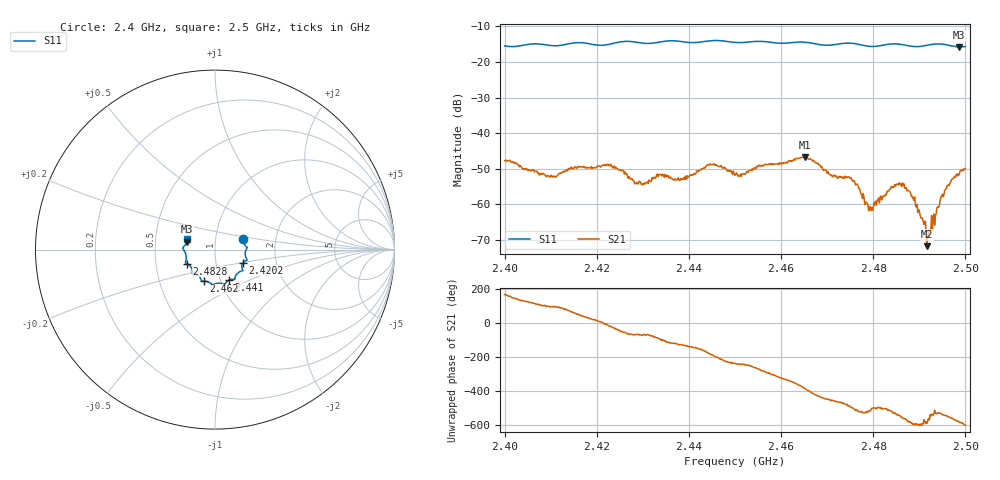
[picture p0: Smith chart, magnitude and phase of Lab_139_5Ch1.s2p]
# Hz S RI R 50
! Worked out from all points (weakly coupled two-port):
!   601 points, 2.4 GHz to 2.5 GHz, reference 50 ohm
!   highest |S21| = -46.68 dB at 2.4652 GHz (marker M1); lowest = -71.8 dB at 2.4917 GHz (marker M2)
!   lowest |S11| = -15.8 dB at 2.4987 GHz (marker M3), VSWR 1.39, Z = 36.3 + j3.25 ohm
!   |S11| at or under -10 dB: start of sweep to end of sweep
!   S12 and S22 are empty: the file has one direction only
!   S11 on the Smith chart (normalised r, x): 2.4 GHz: 1.36, +0.17; 2.4202 GHz: 1.35, -0.20; 2.441 GHz: 1.10, -0.39; 2.462 GHz: 0.83, -0.30; 2.4828 GHz: 0.72, -0.12; 2.5 GHz: 0.73, +0.09
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2.4e9  0.1571 0.0608  -0.004 0.000896  0 0  0 0
2.4095e9  0.1721 -0.00276  -0.000322 0.00247  0 0  0 0
2.416667e9  0.1774 -0.0592  0.00241 0.00234  0 0  0 0
2.420167e9  0.1569 -0.0721  0.00334 0.000798  0 0  0 0
2.423333e9  0.1504 -0.1017  0.00312 -0.00147  0 0  0 0
2.4285e9  0.1482 -0.1193  0.000772 -0.00182  0 0  0 0
2.433333e9  0.1128 -0.152  -2.43e-05 -0.00245  0 0  0 0
2.441e9  0.0774 -0.1706  -0.0022 -0.00153  0 0  0 0
2.445e9  0.0536 -0.1929  -0.00355 0.000491  0 0  0 0
2.45e9  0.027 -0.1868  -0.00136 0.00215  0 0  0 0
2.462e9  -0.0613 -0.1761  0.00386 0.00112  0 0  0 0
2.465167e9  -0.0755 -0.1743  0.00422 -0.00193  0 0  0 0
2.466667e9  -0.0776 -0.1673  0.0026 -0.0033  0 0  0 0
2.475333e9  -0.1261 -0.1333  -0.00171 -0.00147  0 0  0 0
2.4795e9  -0.1327 -0.099  -0.000723 -0.000388  0 0  0 0
2.482833e9  -0.158 -0.0778  -0.00111 -0.000772  0 0  0 0
2.483333e9  -0.1606 -0.0766  -0.00136 -0.000721  0 0  0 0
2.486833e9  -0.162 -0.0609  -0.00155 0.000664  0 0  0 0
2.491667e9  -0.172 -0.00532  -0.000162 0.0002  0 0  0 0
2.495167e9  -0.1773 0.0125  -0.00127 -3.68e-06  0 0  0 0
2.498667e9  -0.1568 0.0436  -0.00183 0.00184  0 0  0 0
2.5e9  -0.1533 0.0618  -0.00151 0.00277  0 0  0 0
